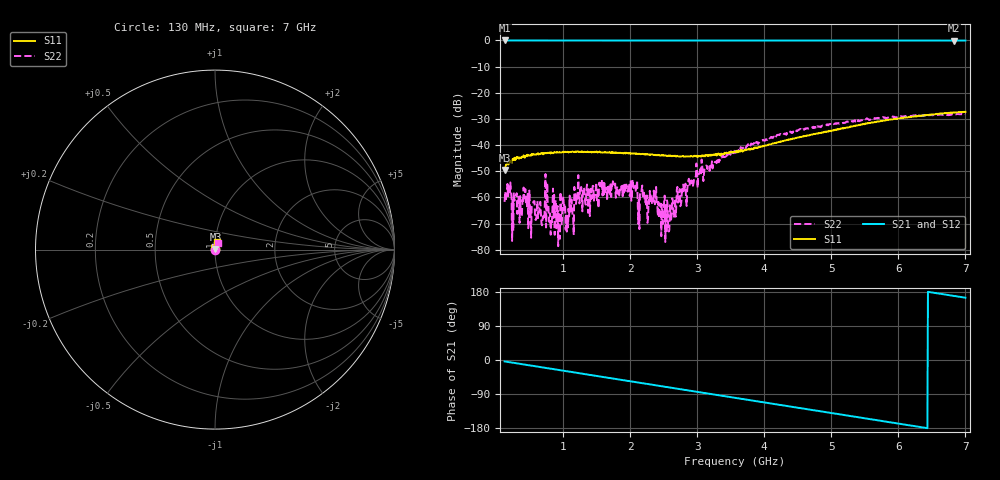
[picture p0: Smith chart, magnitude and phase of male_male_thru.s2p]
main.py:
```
import skrf as rf

female_female_thru = rf.Network('data/male_male_thru.s2p')
print(female_female_thru)
short_male = rf.Network('data/85052B_Short(f).s1p')
print(short_male)
short_male = short_male.interpolate(female_female_thru.frequency)
print(short_male)
female_female_thru_with_85052B_short_m = female_female_thru ** short_male
print(female_female_thru_with_85052B_short_m)

female_female_thru_with_85052B_short_m.write_touchstone('data/male_male_with_85052B_short.s1p')

female_female_thru_with_85052B_short_m.plot_s_db()
```
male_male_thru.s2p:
# Hz S RI R 50.000000
! Metas.Vna.Tools, 2.8.8664.20301
! Metas.Vna.Data, 2.8.8664.20285
! Created: UTC 2024.02.13 19:51:34
! FREQ  re:S1,1  im:S1,1  re:S2,1  im:S2,1  re:S1,2  im:S1,2  re:S2,2  im:S2,2
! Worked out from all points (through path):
!   801 points, 130 MHz to 7 GHz, reference 50 ohm
!   highest |S21| = -0.01 dB at 130 MHz (marker M1); lowest = -0.1 dB at 6.828 GHz (marker M2)
!   group delay of S21, straight-line fit = 77.6 ps
!   lowest |S11| = -49.5 dB at 130 MHz (marker M3), VSWR 1.01, Z = 50.3 + j0.199 ohm
!   |S11| at or under -10 dB: start of sweep to end of sweep
!   |S22| runs from -78.7 to -28.0 dB; largest |S21 - S12| = 0
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1.3e8  0.0027 0.00198  0.9972 -0.0651  0.9972 -0.0651  -0.000662 0.000487
9.37225e8  0.00723 0.000265  0.8942 -0.4422  0.8942 -0.4422  -0.000351 0.000377
1.074625e9  0.00742 -0.000386  0.8622 -0.5011  0.8622 -0.5011  0.000267 -1.36e-05
1.203438e9  0.00739 -0.000911  0.8289 -0.5541  0.8289 -0.5541  0.00088 -0.000418
2.070775e9  0.00543 -0.00412  0.5276 -0.8458  0.5276 -0.8458  0.0013 -0.000656
2.560262e9  0.00305 -0.00534  0.3127 -0.9463  0.3127 -0.9463  -0.000454 -0.000577
3.04975e9  -0.00033 -0.0061  0.0801 -0.9928  0.0801 -0.9928  -0.00234 0.00258
3.565e9  -0.00524 -0.00541  -0.1693 -0.9816  -0.1693 -0.9816  -0.00537 0.00613
5.342612e9  -0.0167 0.0163  -0.857 -0.506  -0.857 -0.506  -0.00924 0.0271
6.82825e9  0.00819 0.041  -0.9763 0.1877  -0.9763 0.1877  0.0116 0.0367
7e9  0.013 0.0413  -0.9575 0.2687  -0.9575 0.2687  0.0167 0.0354
